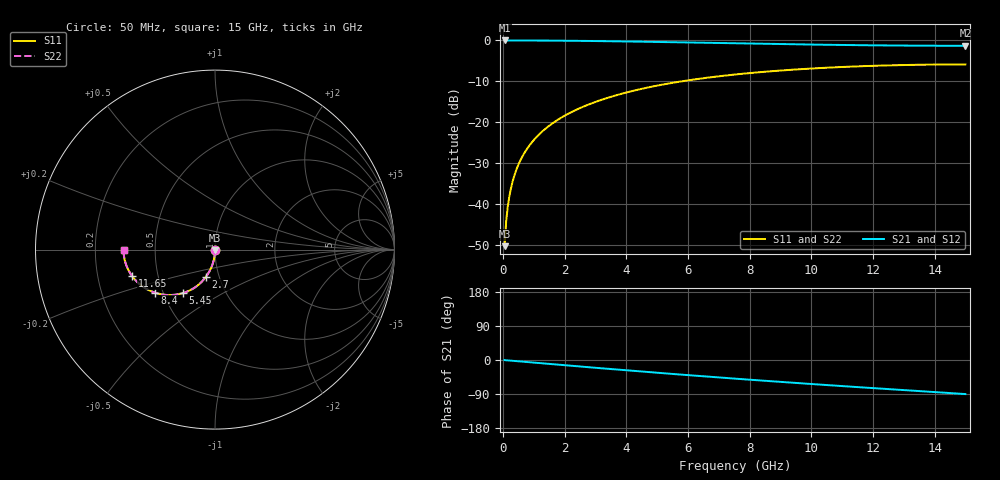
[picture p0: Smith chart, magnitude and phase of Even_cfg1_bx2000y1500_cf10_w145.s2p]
! Sonnet Data File
! From: emgraph Version : 16.52
! From Emgraph Data: Waveguide
! Data File Written: 09/24/2017 00:39:19
!< HDATE 09/24/2017 00:25:08
!< MDATE 09/24/2017 00:25:08
# GHZ S MA R 50.00000
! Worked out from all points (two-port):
!   300 points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, 50 MHz to 15 GHz, reference 50 ohm
!   highest |S21| = 0.00 dB at 50 MHz (marker M1); lowest = -1.3 dB at 15 GHz (marker M2)
!   |S21| within 3 dB of the highest: start of sweep to end of sweep
!   lowest |S11| = -50.2 dB at 50 MHz (marker M3), VSWR 1.01, Z = 50 - j0.307 ohm
!   |S11| at or under -10 dB: start of sweep to 5.778 GHz
!   |S22| runs from -50.2 to -5.9 dB; largest |S21 - S12| = 0
!   S11 on the Smith chart (normalised r, x): 50 MHz: 1.00, -0.01; 2.7 GHz: 0.86, -0.27; 5.45 GHz: 0.63, -0.33; 8.4 GHz: 0.45, -0.26; 11.65 GHz: 0.35, -0.14; 15 GHz: 0.32, -0.00
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0.05  0.003075 -90.3  1 -0.3  1 -0.3  0.003075 -90.3
!< P1 F=0.05 Eeff=(6.15975582 -3.1355e-5) Z0=(28.574879 6.48222e-5) R=0.07407996 C=0.19539898
!< P2 F=0.05 Eeff=(6.15975582 -3.1355e-5) Z0=(28.574879 6.48222e-5) R=0.07407996 C=0.19539898
0.1  0.00613 -90.6  1 -0.7  1 -0.7  0.00613 -90.6
0.15  0.009186 -91.0  0.9999 -1.0  0.9999 -1.0  0.009186 -91.0
0.2  0.01224 -91.3  0.9999 -1.4  0.9999 -1.4  0.01224 -91.3
0.25  0.0153 -91.7  0.9999 -1.7  0.9999 -1.7  0.0153 -91.7
0.4  0.02447 -92.7  0.9997 -2.8  0.9997 -2.8  0.02447 -92.7
0.5  0.03058 -93.4  0.9995 -3.5  0.9995 -3.5  0.03058 -93.4
0.65  0.03973 -94.5  0.9992 -4.5  0.9992 -4.5  0.03973 -94.5
1  0.061 -96.9  0.9981 -6.9  0.9981 -6.9  0.061 -96.9
1.4  0.0851 -99.7  0.9964 -9.7  0.9964 -9.7  0.0851 -99.7
1.9  0.1148 -103.1  0.9934 -13.1  0.9934 -13.1  0.1148 -103.1
2.55  0.1524 -107.5  0.9882 -17.5  0.9882 -17.5  0.1524 -107.5
2.7  0.1609 -108.5  0.9868 -18.5  0.9868 -18.5  0.1609 -108.5
3.75  0.2183 -115.4  0.9753 -25.6  0.9753 -25.6  0.2183 -115.4
5.05  0.2834 -123.9  0.9587 -34.0  0.9587 -34.0  0.2834 -123.9
5.45  0.3018 -126.5  0.9533 -36.5  0.9533 -36.5  0.3018 -126.5
7.55  0.3847 -139.4  0.9233 -49.4  0.9233 -49.4  0.3847 -139.4
8.4  0.412 -144.4  0.9113 -54.4  0.9113 -54.4  0.412 -144.4
10.05  0.4553 -153.6  0.8903 -63.6  0.8903 -63.6  0.4553 -153.6
11.65  0.485 -162.3  0.8746 -72.3  0.8746 -72.3  0.485 -162.3
12.55  0.4967 -167.1  0.8681 -77.1  0.8681 -77.1  0.4967 -167.1
15  0.5096 -179.9  0.8604 -89.9  0.8604 -89.9  0.5096 -179.9
